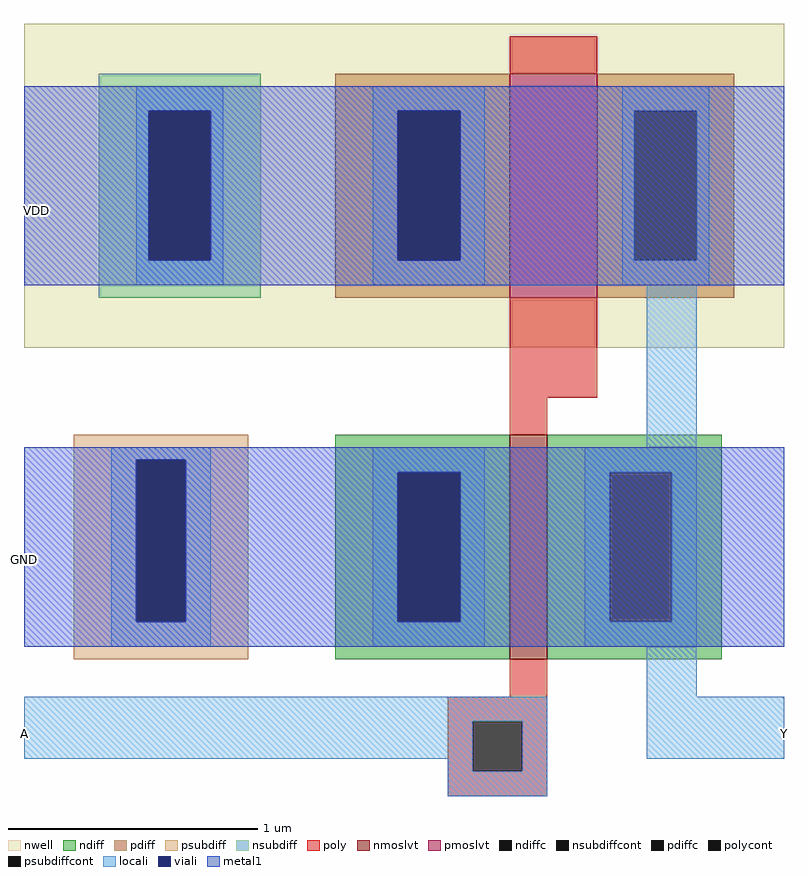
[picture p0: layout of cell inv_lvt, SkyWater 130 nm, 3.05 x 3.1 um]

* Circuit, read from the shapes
.subckt inv_lvt A GND VDD Y
XM1 Y A GND GND sky130_fd_pr__nfet_01v8_lvt w=0.9 l=0.15
XM2 Y A VDD VDD sky130_fd_pr__pfet_01v8_lvt w=0.9 l=0.35
.ends

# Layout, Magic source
magic
tech sky130A
<< nwell >>
rect -160 60 145 190
<< pmoslvt >>
rect 35 80 70 170
<< nmoslvt >>
rect 35 -65 50 25
<< ndiff >>
rect -35 10 35 25
rect -35 -50 -10 10
rect 15 -50 35 10
rect -35 -65 35 -50
rect 50 10 120 25
rect 50 -50 75 10
rect 100 -50 120 10
rect 50 -65 120 -50
<< pdiff >>
rect -35 155 35 170
rect -35 95 -10 155
rect 15 95 35 155
rect -35 80 35 95
rect 70 155 125 170
rect 70 95 85 155
rect 110 95 125 155
rect 70 80 125 95
<< ndiffc >>
rect -10 -50 15 10
rect 75 -50 100 10
<< pdiffc >>
rect -10 95 15 155
rect 85 95 110 155
<< psubdiff >>
rect -140 15 -70 25
rect -140 -50 -115 15
rect -95 -50 -70 15
rect -140 -65 -70 -50
<< nsubdiff >>
rect -130 155 -65 170
rect -130 95 -110 155
rect -85 95 -65 155
rect -130 80 -65 95
<< psubdiffcont >>
rect -115 -50 -95 15
<< nsubdiffcont >>
rect -110 95 -85 155
<< poly >>
rect 35 170 70 185
rect 35 40 70 80
rect 35 25 50 40
rect 35 -80 50 -65
rect 10 -90 50 -80
rect 10 -110 20 -90
rect 40 -110 50 -90
rect 10 -120 50 -110
<< polycont >>
rect 20 -110 40 -90
<< locali >>
rect -115 155 -80 165
rect -115 95 -110 155
rect -85 95 -80 155
rect -115 85 -80 95
rect -20 155 25 165
rect -20 95 -10 155
rect 15 95 25 155
rect -20 85 25 95
rect 80 155 115 165
rect 80 95 85 155
rect 110 95 115 155
rect 80 85 115 95
rect 90 20 110 85
rect -125 15 -85 20
rect -125 -50 -115 15
rect -95 -50 -85 15
rect -125 -60 -85 -50
rect -20 10 25 20
rect -20 -50 -10 10
rect 15 -50 25 10
rect -20 -60 25 -50
rect 65 10 110 20
rect 65 -50 75 10
rect 100 -50 110 10
rect 65 -60 110 -50
rect 90 -80 110 -60
rect -160 -90 50 -80
rect -160 -105 20 -90
rect 10 -110 20 -105
rect 40 -110 50 -90
rect 90 -105 145 -80
rect 10 -120 50 -110
<< viali >>
rect -110 95 -85 155
rect -10 95 15 155
rect -115 -50 -95 15
rect -10 -50 15 10
<< metal1 >>
rect -160 155 145 165
rect -160 95 -110 155
rect -85 95 -10 155
rect 15 95 145 155
rect -160 85 145 95
rect -160 15 145 20
rect -160 -50 -115 15
rect -95 10 145 15
rect -95 -50 -10 10
rect 15 -50 145 10
rect -160 -60 145 -50
<< labels >>
rlabel metal1 -155 115 -155 115 7 VDD
rlabel metal1 -160 -25 -160 -25 7 GND
rlabel locali -160 -95 -160 -95 3 A
rlabel locali 145 -95 145 -95 7 Y
<< end >>
